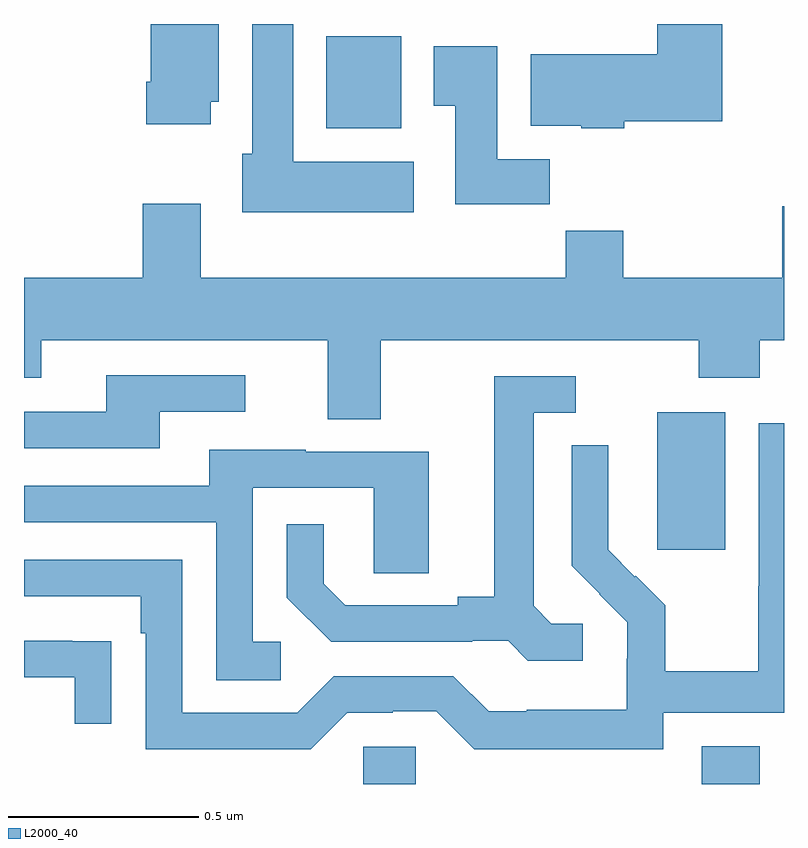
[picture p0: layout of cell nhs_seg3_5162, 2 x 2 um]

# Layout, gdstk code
import gdstk
lib = gdstk.Library(unit=1e-6, precision=1e-09)
def R(c, l, rs):  # rectangles x0, y0, x1, y1
    for r in rs: c.add(gdstk.rectangle(r[:2], r[2:], *l))
def P(c, l, *ps):  # polygons
    for p in ps: c.add(gdstk.Polygon(p, *l))
L2000_40 = (2000, 40)

nhs_seg3_5162 = lib.new_cell('nhs_seg3_5162')
R(nhs_seg3_5162, L2000_40, [(175.893,714.4,176.031,714.498), (176.783,714.4,176.936,714.499), (176.666,715.017,176.845,715.378), (175.796,716.126,175.993,716.368)])
P(nhs_seg3_5162, L2000_40, [(176.58,716.144),(176.837,716.144),(176.837,716.4),(176.666,716.4),(176.666,716.32),(176.333,716.32),(176.333,716.132),(176.466,716.132),(176.466,716.126),(176.58,716.126)],
  [(176.026,716.038),(175.708,716.038),(175.708,716.4),(175.601,716.4),(175.601,716.058),(175.574,716.058),(175.574,715.904),(176.026,715.904)],
  [(175.492,716.196),(175.513,716.196),(175.513,716.4),(175.334,716.4),(175.334,716.248),(175.322,716.248),(175.322,716.136),(175.492,716.136)],
  [(176.384,716.044),(176.245,716.044),(176.245,716.341),(176.078,716.341),(176.078,716.185),(176.135,716.185),(176.135,715.926),(176.384,715.926)],
  [(175.939,715.568),(176.776,715.568),(176.776,715.469),(176.936,715.469),(176.936,715.568),(177,715.568),(177,715.921),(176.996,715.921),(176.996,715.732),(176.577,715.732),(176.577,715.856),(176.425,715.856),(176.425,715.732),(175.465,715.732),(175.465,715.927),(175.313,715.927),(175.313,715.732),(175,715.732),(175,715.469),(175.045,715.469),(175.045,715.568),(175.799,715.568),(175.799,715.36),(175.939,715.36)],
  [(175.357,715.38),(175.582,715.38),(175.582,715.476),(175.217,715.476),(175.217,715.38),(175,715.38),(175,715.284),(175.357,715.284)],
  [(176.47,714.822),(176.388,714.822),(176.341,714.869),(176.341,715.377),(176.452,715.377),(176.452,715.473),(176.237,715.473),(176.237,714.893),(176.141,714.893),(176.141,714.87),(175.846,714.87),(175.789,714.927),(175.789,715.084),(175.692,715.084),(175.692,714.89),(175.808,714.774),(176.18,714.774),(176.18,714.777),(176.274,714.777),(176.326,714.725),(176.47,714.725)],
  [(176.682,714.588),(177,714.588),(177,715.35),(176.934,715.35),(176.934,714.92),(176.932,714.92),(176.932,714.697),(176.687,714.697),(176.687,714.871),(176.61,714.948),(176.607,714.945),(176.537,715.016),(176.537,715.138),(176.538,715.138),(176.538,715.292),(176.442,715.292),(176.442,714.974),(176.515,714.901),(176.514,714.9),(176.588,714.826),(176.588,714.729),(176.586,714.729),(176.586,714.595),(176.323,714.595),(176.323,714.591),(176.223,714.591),(176.13,714.684),(175.815,714.684),(175.719,714.588),(175.416,714.588),(175.416,714.99),(175,714.99),(175,714.894),(175.307,714.894),(175.307,714.797),(175.32,714.797),(175.32,714.492),(175.755,714.492),(175.851,714.588),(175.97,714.588),(175.97,714.591),(176.085,714.591),(176.185,714.491),(176.682,714.491)],
  [(175.675,714.774),(175.602,714.774),(175.602,715.179),(175.92,715.179),(175.92,714.955),(176.065,714.955),(176.065,715.275),(175.741,715.275),(175.741,715.279),(175.487,715.279),(175.487,715.185),(175,715.185),(175,715.089),(175.506,715.089),(175.506,714.673),(175.675,714.673)],
  [(175.229,714.776),(175.127,714.776),(175.127,714.777),(175,714.777),(175,714.681),(175.133,714.681),(175.133,714.558),(175.229,714.558)])

lib.write_gds('nhs_seg3_5162.gds')
